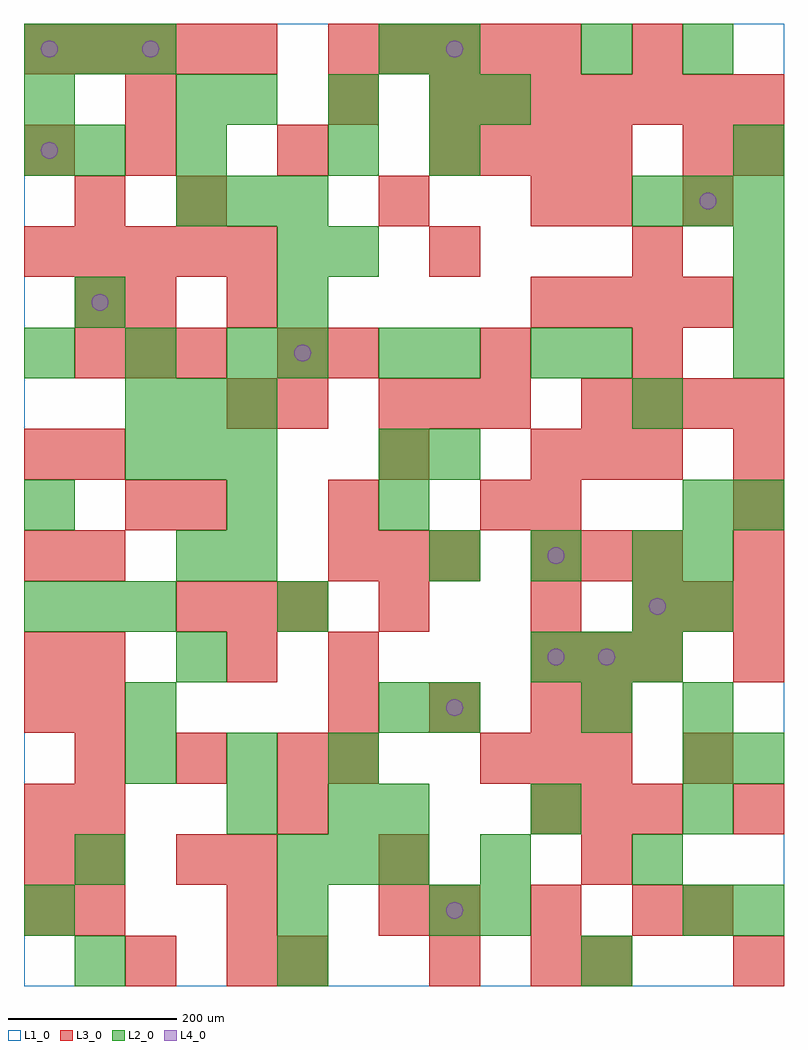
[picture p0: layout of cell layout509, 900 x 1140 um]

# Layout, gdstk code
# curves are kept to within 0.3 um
import gdstk
lib = gdstk.Library(unit=1e-6, precision=1e-09)
def R(c, l, rs):  # rectangles x0, y0, x1, y1
    for r in rs: c.add(gdstk.rectangle(r[:2], r[2:], *l))
def A(c, l, x, y, w, h, nx, ny, dx, dy):  # array of equal rectangles
    R(c, l, [(x+i*dx, y+j*dy, x+i*dx+w, y+j*dy+h) for i in range(nx) for j in range(ny)])
def P(c, l, *ps):  # polygons
    for p in ps: c.add(gdstk.Polygon(p, *l))
L1_0 = (1, 0)
L2_0 = (2, 0)
L3_0 = (3, 0)
L4_0 = (4, 0)

layout509 = lib.new_cell('layout509')
R(layout509, L1_0, [(0,0,900,1140)])
A(layout509, L2_0, 300, 120, 60, 60, 3, 1, 60, 0)
A(layout509, L2_0, 420, 180, 60, 60, 3, 1, 180, 0)
A(layout509, L2_0, 120, 240, 60, 60, 3, 1, 120, 0)
A(layout509, L2_0, 600, 360, 60, 60, 3, 1, 60, 0)
A(layout509, L2_0, 0, 420, 60, 60, 3, 2, 60, 660)
A(layout509, L2_0, 780, 420, 60, 60, 1, 3, 0, 60)
A(layout509, L2_0, 480, 480, 60, 60, 3, 1, 120, 0)
A(layout509, L2_0, 120, 600, 60, 60, 3, 2, 60, 60)
A(layout509, L2_0, 0, 720, 60, 60, 3, 1, 120, 0)
A(layout509, L2_0, 300, 720, 60, 60, 1, 3, 0, 60)
A(layout509, L2_0, 840, 720, 60, 60, 1, 3, 0, 60)
A(layout509, L2_0, 180, 900, 60, 60, 3, 1, 60, 0)
A(layout509, L2_0, 720, 900, 60, 60, 3, 1, 60, 0)
A(layout509, L2_0, 240, 1020, 60, 60, 3, 1, 120, 0)
R(layout509, L2_0, [(60,0,120,60), (300,0,360,60), (660,0,720,60), (0,60,60,120), (300,60,360,120), (480,60,540,120), (540,60,600,120), (780,60,840,120), (840,60,900,120), (60,120,120,180), (540,120,600,180), (720,120,780,180), (240,180,300,240), (360,180,420,240), (780,240,840,300), (840,240,900,300), (120,300,180,360), (420,300,480,360), (480,300,540,360), (660,300,720,360), (780,300,840,360), (180,360,240,420), (300,420,360,480), (720,420,780,480), (180,480,240,540), (240,480,300,540), (0,540,60,600), (240,540,300,600), (420,540,480,600), (840,540,900,600), (420,600,480,660), (480,600,540,660), (720,660,780,720), (420,720,480,780), (480,720,540,780), (600,720,660,780), (660,720,720,780), (60,780,120,840), (360,840,420,900), (0,960,60,1020), (60,960,120,1020), (180,960,240,1020), (360,960,420,1020), (480,960,540,1020), (840,960,900,1020), (0,1020,60,1080), (180,1020,240,1080), (540,1020,600,1080), (420,1080,480,1140), (480,1080,540,1140), (660,1080,720,1140), (780,1080,840,1140)])
A(layout509, L3_0, 840, 0, 60, 60, 1, 3, 0, 180)
A(layout509, L3_0, 0, 60, 60, 60, 1, 3, 0, 60)
A(layout509, L3_0, 60, 60, 60, 60, 3, 1, 180, 0)
A(layout509, L3_0, 480, 60, 60, 60, 3, 1, 120, 0)
A(layout509, L3_0, 600, 180, 60, 60, 3, 2, 60, 180)
A(layout509, L3_0, 60, 240, 60, 60, 3, 1, 120, 0)
A(layout509, L3_0, 540, 240, 60, 60, 3, 2, 60, 720)
A(layout509, L3_0, 360, 300, 60, 60, 3, 1, 120, 0)
A(layout509, L3_0, 0, 360, 60, 60, 1, 3, 0, 120)
A(layout509, L3_0, 60, 360, 60, 60, 1, 3, 0, 120)
A(layout509, L3_0, 180, 420, 60, 60, 3, 1, 60, 0)
A(layout509, L3_0, 720, 420, 60, 60, 3, 1, 60, 0)
A(layout509, L3_0, 360, 480, 60, 60, 3, 1, 60, 0)
A(layout509, L3_0, 600, 480, 60, 60, 3, 2, 60, 120)
A(layout509, L3_0, 840, 480, 60, 60, 1, 3, 0, 60)
A(layout509, L3_0, 120, 540, 60, 60, 1, 3, 0, 240)
A(layout509, L3_0, 180, 540, 60, 60, 3, 1, 180, 0)
A(layout509, L3_0, 420, 660, 60, 60, 3, 1, 60, 0)
A(layout509, L3_0, 660, 660, 60, 60, 4, 1, 60, 0)
A(layout509, L3_0, 60, 720, 60, 60, 3, 1, 60, 0)
A(layout509, L3_0, 360, 720, 60, 60, 3, 1, 180, 0)
A(layout509, L3_0, 600, 780, 60, 60, 4, 1, 60, 0)
A(layout509, L3_0, 0, 840, 60, 60, 5, 2, 60, 240)
A(layout509, L3_0, 120, 960, 60, 60, 3, 1, 180, 0)
A(layout509, L3_0, 480, 1020, 60, 60, 7, 1, 60, 0)
A(layout509, L3_0, 360, 1080, 60, 60, 5, 1, 60, 0)
R(layout509, L3_0, [(120,0,180,60), (240,0,300,60), (300,0,360,60), (480,0,540,60), (600,0,660,60), (660,0,720,60), (780,60,840,120), (60,120,120,180), (180,120,240,180), (240,120,300,180), (420,120,480,180), (660,120,720,180), (60,180,120,240), (300,180,360,240), (360,240,420,300), (780,240,840,300), (0,300,60,360), (60,300,120,360), (660,300,720,360), (240,360,300,420), (360,360,420,420), (420,420,480,480), (600,420,660,480), (600,540,660,600), (420,600,480,660), (240,660,300,720), (300,660,360,720), (300,720,360,780), (60,780,120,840), (240,780,300,840), (480,840,540,900), (720,840,780,900), (60,900,120,960), (180,900,240,960), (420,900,480,960), (600,900,660,960), (660,900,720,960), (780,900,840,960), (0,960,60,1020), (780,960,840,1020), (840,960,900,1020), (360,1020,420,1080), (720,1080,780,1140)])
P(layout509, L4_0, [(40,990),(39.239,993.827),(37.071,997.071),(33.827,999.239),(30,1000),(26.173,999.239),(22.929,997.071),(20.761,993.827),(20,990),(20.761,986.173),(22.929,982.929),(26.173,980.761),(30,980),(33.827,980.761),(37.071,982.929),(39.239,986.173)],
  [(40,1110),(39.239,1113.827),(37.071,1117.071),(33.827,1119.239),(30,1120),(26.173,1119.239),(22.929,1117.071),(20.761,1113.827),(20,1110),(20.761,1106.173),(22.929,1102.929),(26.173,1100.761),(30,1100),(33.827,1100.761),(37.071,1102.929),(39.239,1106.173)],
  [(100,810),(99.239,813.827),(97.071,817.071),(93.827,819.239),(90,820),(86.173,819.239),(82.929,817.071),(80.761,813.827),(80,810),(80.761,806.173),(82.929,802.929),(86.173,800.761),(90,800),(93.827,800.761),(97.071,802.929),(99.239,806.173)],
  [(160,1110),(159.239,1113.827),(157.071,1117.071),(153.827,1119.239),(150,1120),(146.173,1119.239),(142.929,1117.071),(140.761,1113.827),(140,1110),(140.761,1106.173),(142.929,1102.929),(146.173,1100.761),(150,1100),(153.827,1100.761),(157.071,1102.929),(159.239,1106.173)],
  [(340,750),(339.239,753.827),(337.071,757.071),(333.827,759.239),(330,760),(326.173,759.239),(322.929,757.071),(320.761,753.827),(320,750),(320.761,746.173),(322.929,742.929),(326.173,740.761),(330,740),(333.827,740.761),(337.071,742.929),(339.239,746.173)],
  [(520,90),(519.239,93.827),(517.071,97.071),(513.827,99.239),(510,100),(506.173,99.239),(502.929,97.071),(500.761,93.827),(500,90),(500.761,86.173),(502.929,82.929),(506.173,80.761),(510,80),(513.827,80.761),(517.071,82.929),(519.239,86.173)],
  [(520,330),(519.239,333.827),(517.071,337.071),(513.827,339.239),(510,340),(506.173,339.239),(502.929,337.071),(500.761,333.827),(500,330),(500.761,326.173),(502.929,322.929),(506.173,320.761),(510,320),(513.827,320.761),(517.071,322.929),(519.239,326.173)],
  [(520,1110),(519.239,1113.827),(517.071,1117.071),(513.827,1119.239),(510,1120),(506.173,1119.239),(502.929,1117.071),(500.761,1113.827),(500,1110),(500.761,1106.173),(502.929,1102.929),(506.173,1100.761),(510,1100),(513.827,1100.761),(517.071,1102.929),(519.239,1106.173)],
  [(640,390),(639.239,393.827),(637.071,397.071),(633.827,399.239),(630,400),(626.173,399.239),(622.929,397.071),(620.761,393.827),(620,390),(620.761,386.173),(622.929,382.929),(626.173,380.761),(630,380),(633.827,380.761),(637.071,382.929),(639.239,386.173)],
  [(640,510),(639.239,513.827),(637.071,517.071),(633.827,519.239),(630,520),(626.173,519.239),(622.929,517.071),(620.761,513.827),(620,510),(620.761,506.173),(622.929,502.929),(626.173,500.761),(630,500),(633.827,500.761),(637.071,502.929),(639.239,506.173)],
  [(700,390),(699.239,393.827),(697.071,397.071),(693.827,399.239),(690,400),(686.173,399.239),(682.929,397.071),(680.761,393.827),(680,390),(680.761,386.173),(682.929,382.929),(686.173,380.761),(690,380),(693.827,380.761),(697.071,382.929),(699.239,386.173)],
  [(760,450),(759.239,453.827),(757.071,457.071),(753.827,459.239),(750,460),(746.173,459.239),(742.929,457.071),(740.761,453.827),(740,450),(740.761,446.173),(742.929,442.929),(746.173,440.761),(750,440),(753.827,440.761),(757.071,442.929),(759.239,446.173)],
  [(820,930),(819.239,933.827),(817.071,937.071),(813.827,939.239),(810,940),(806.173,939.239),(802.929,937.071),(800.761,933.827),(800,930),(800.761,926.173),(802.929,922.929),(806.173,920.761),(810,920),(813.827,920.761),(817.071,922.929),(819.239,926.173)])

lib.write_gds('layout509.gds')
